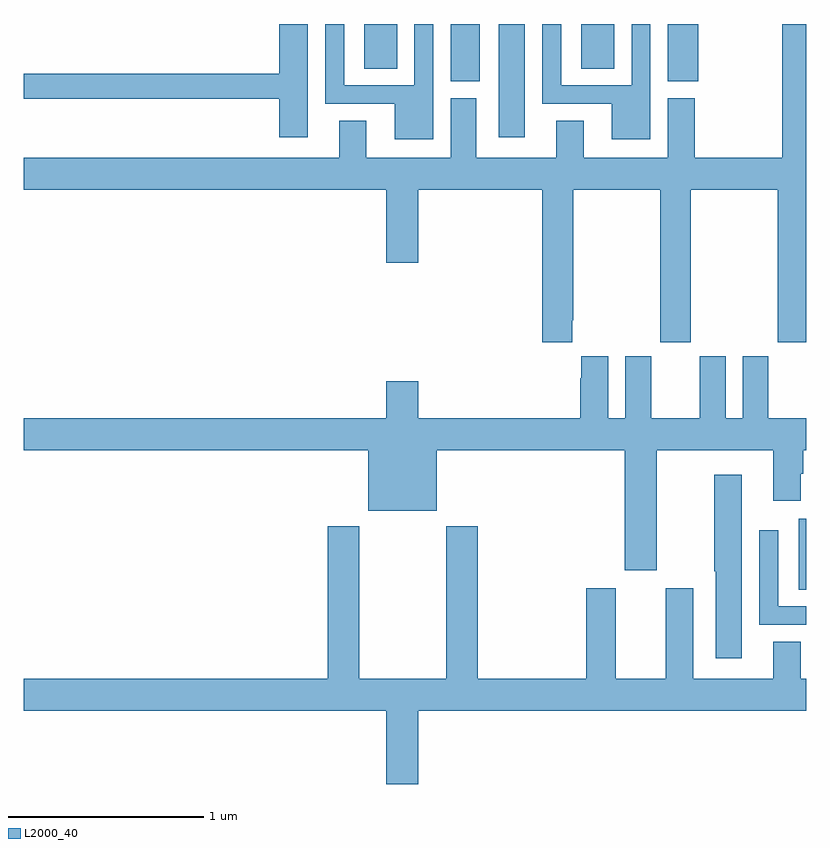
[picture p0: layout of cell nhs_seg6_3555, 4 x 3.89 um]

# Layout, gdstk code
import gdstk
lib = gdstk.Library(unit=1e-6, precision=1e-09)
def R(c, l, rs):  # rectangles x0, y0, x1, y1
    for r in rs: c.add(gdstk.rectangle(r[:2], r[2:], *l))
def P(c, l, *ps):  # polygons
    for p in ps: c.add(gdstk.Polygon(p, *l))
L2000_40 = (2000, 40)

nhs_seg6_3555 = lib.new_cell('nhs_seg6_3555')
R(nhs_seg6_3555, L2000_40, [(322.961,962.608,323,962.971), (321.428,964.92,321.562,965.5), (321.182,965.206,321.331,965.5), (320.741,965.272,320.908,965.5), (321.851,965.272,322.018,965.5)])
P(nhs_seg6_3555, L2000_40, [(320.452,965.5),(320.306,965.5),(320.306,965.246),(319,965.246),(319,965.118),(320.306,965.118),(320.306,964.92),(320.452,964.92)],
  [(321.093,965.5),(320.997,965.5),(320.997,965.187),(320.637,965.187),(320.637,965.5),(320.541,965.5),(320.541,965.091),(320.897,965.091),(320.897,964.91),(321.093,964.91)],
  [(322.449,965.5),(322.293,965.5),(322.293,965.489),(322.292,965.489),(322.292,965.206),(322.449,965.206)],
  [(322.203,965.5),(322.107,965.5),(322.107,965.187),(321.747,965.187),(321.747,965.5),(321.651,965.5),(321.651,965.091),(322.007,965.091),(322.007,964.91),(322.203,964.91)],
  [(321.805,963.985),(321.81,963.985),(321.81,964.652),(322.255,964.652),(322.255,963.873),(322.41,963.873),(322.41,964.652),(322.855,964.652),(322.855,963.873),(323,963.873),(323,965.5),(322.879,965.5),(322.879,964.816),(322.431,964.816),(322.431,965.121),(322.292,965.121),(322.292,964.816),(321.862,964.816),(321.862,965.006),(321.722,965.006),(321.722,964.816),(321.313,964.816),(321.313,965.121),(321.182,965.121),(321.182,964.816),(320.752,964.816),(320.752,965.006),(320.612,965.006),(320.612,964.816),(319,964.816),(319,964.652),(320.852,964.652),(320.852,964.278),(321.016,964.278),(321.016,964.652),(321.65,964.652),(321.65,963.873),(321.805,963.873)],
  [(322.237,963.32),(322.832,963.32),(322.832,963.063),(322.972,963.063),(322.972,963.2),(322.985,963.2),(322.985,963.32),(323,963.32),(323,963.484),(322.807,963.484),(322.807,963.802),(322.676,963.802),(322.676,963.484),(322.588,963.484),(322.588,963.802),(322.457,963.802),(322.457,963.484),(322.207,963.484),(322.207,963.802),(322.076,963.802),(322.076,963.484),(321.988,963.484),(321.988,963.802),(321.851,963.802),(321.851,963.689),(321.845,963.689),(321.845,963.484),(321.016,963.484),(321.016,963.673),(320.852,963.673),(320.852,963.484),(319,963.484),(319,963.32),(320.762,963.32),(320.762,963.011),(321.112,963.011),(321.112,963.32),(322.073,963.32),(322.073,962.706),(322.237,962.706)],
  [(322.672,963.196),(322.531,963.196),(322.531,962.701),(322.538,962.701),(322.538,962.256),(322.672,962.256)],
  [(321.016,961.988),(323,961.988),(323,962.152),(322.972,962.152),(322.972,962.342),(322.832,962.342),(322.832,962.152),(322.423,962.152),(322.423,962.614),(322.283,962.614),(322.283,962.152),(322.027,962.152),(322.027,962.614),(321.875,962.614),(321.875,962.152),(321.32,962.152),(321.32,962.932),(321.16,962.932),(321.16,962.152),(320.715,962.152),(320.715,962.932),(320.555,962.932),(320.555,962.152),(319,962.152),(319,961.988),(320.852,961.988),(320.852,961.614),(321.016,961.614)],
  [(323,962.523),(322.857,962.523),(322.857,962.911),(322.761,962.911),(322.761,962.427),(323,962.427)])

lib.write_gds('nhs_seg6_3555.gds')
